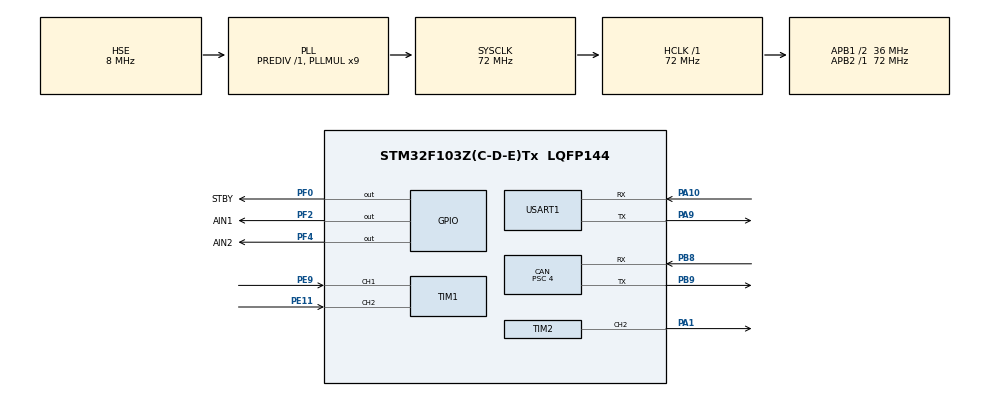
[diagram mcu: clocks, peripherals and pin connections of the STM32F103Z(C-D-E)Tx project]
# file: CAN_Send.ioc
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CAN.ABOM=ENABLE
CAN.AWUM=ENABLE
CAN.BS1=CAN_BS1_15TQ
CAN.BS2=CAN_BS2_2TQ
CAN.CalculateBaudRate=500000
CAN.CalculateTimeBit=2000
CAN.CalculateTimeQuantum=111.11111111111111
CAN.Prescaler=4
Mcu.Family=STM32F1
Mcu.Name=STM32F103Z(C-D-E)Tx
Mcu.Package=LQFP144
NVIC.PriorityGroup=NVIC_PRIORITYGROUP_4
NVIC.USB_LP_CAN1_RX0_IRQn=true\:0\:0\:false\:false\:true\:true\:true\:true
OSC_IN.Mode=HSE-External-Oscillator
OSC_IN.Signal=RCC_OSC_IN
OSC_OUT.Mode=HSE-External-Oscillator
OSC_OUT.Signal=RCC_OSC_OUT
PA1.Signal=S_TIM2_CH2
PA10.Mode=Asynchronous
PA10.Signal=USART1_RX
PA13.Mode=Serial_Wire
PA13.Signal=SYS_JTMS-SWDIO
PA14.Mode=Serial_Wire
PA14.Signal=SYS_JTCK-SWCLK
PA9.Mode=Asynchronous
PA9.Signal=USART1_TX
PB8.Mode=CAN_Activate
PB8.Signal=CAN_RX
PB9.Mode=CAN_Activate
PB9.Signal=CAN_TX
PE11.Signal=S_TIM1_CH2
PE9.Signal=S_TIM1_CH1
PF0.GPIO_Label=STBY
PF0.Signal=GPIO_Output
PF2.GPIO_Label=AIN1
PF2.Signal=GPIO_Output
PF4.GPIO_Label=AIN2
PF4.Signal=GPIO_Output
ProjectManager.HeapSize=0x200
ProjectManager.StackSize=0x400
ProjectManager.TargetToolchain=CMake
RCC.AHBFreq_Value=72000000
RCC.APB1CLKDivider=RCC_HCLK_DIV2
RCC.APB1Freq_Value=36000000
RCC.APB1TimFreq_Value=72000000
RCC.APB2Freq_Value=72000000
RCC.APB2TimFreq_Value=72000000
RCC.HCLKFreq_Value=72000000
RCC.PLLMUL=RCC_PLL_MUL9
RCC.PLLSourceVirtual=RCC_PLLSOURCE_HSE
RCC.SYSCLKFreq_VALUE=72000000
RCC.SYSCLKSource=RCC_SYSCLKSOURCE_PLLCLK
RCC.USBFreq_Value=72000000
SH.S_TIM1_CH1.0=TIM1_CH1,Encoder_Interface
SH.S_TIM1_CH2.0=TIM1_CH2,Encoder_Interface
SH.S_TIM2_CH2.0=TIM2_CH2,PWM Generation2 CH2
TIM1.EncoderMode=TIM_ENCODERMODE_TI12
TIM1.IC1Filter=7
TIM2.AutoReloadPreload=TIM_AUTORELOAD_PRELOAD_ENABLE
TIM2.Channel-PWM\ Generation2\ CH2=TIM_CHANNEL_2
TIM2.Period=999
TIM2.Prescaler=3
USART1.VirtualMode=VM_ASYNC
board=custom

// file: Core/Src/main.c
/* USER CODE BEGIN Header */
/**
  ******************************************************************************
  * @file           : main.c
  * @brief          : Main program body
  ******************************************************************************
  * @attention
  *
  * Copyright (c) 2026 STMicroelectronics.
  * All rights reserved.
  *
  * This software is licensed under terms that can be found in the LICENSE file
  * in the root directory of this software component.
  * If no LICENSE file comes with this software, it is provided AS-IS.
  *
  ******************************************************************************
  */
/* USER CODE END Header */
#include "main.h"
#include "can.h"
#include "tim.h"
#include "usart.h"
#include "gpio.h"

/* USER CODE BEGIN Includes */
#include "Getspeed.h"
#include "stdio.h"
#include "PID.h"
#include "loop.h"
#include "uart_report.h"
#include <stdlib.h>
#include <string.h>
/* USER CODE END Includes */

void SystemClock_Config(void);

int main(void)
{

  /* MCU Configuration--------------------------------------------------------*/

  /* Reset of all peripherals, Initializes the Flash interface and the Systick. */
  HAL_Init();

  /* Configure the system clock */
  SystemClock_Config();

  /* Initialize all configured peripherals */
  MX_GPIO_Init();
  MX_CAN_Init();
  MX_TIM1_Init();
  MX_TIM2_Init();
  MX_USART1_UART_Init();
  /* USER CODE BEGIN 2 */
  //CAN 的初始化
	CAN_ConfigInit();//初始化
	HAL_CAN_Start(&hcan);//使能
  HAL_CAN_ActivateNotification(&hcan, CAN_IT_RX_FIFO0_MSG_PENDING);//开启FIFO0收报中断

  //电机的初始化
	HAL_TIM_Encoder_Start(&htim1, TIM_CHANNEL_ALL);//打开TIM1的全部编码器通道

	PWM_init();//初始化pwm
	Mcinit();//初始化脉冲计数

	PID_init(&PID[0],1.5f,0.2f,0.0f);//初始化PID
	pos_kp(&PID[0],0.5f);//位置环KP：速度目标 = 0.5 × 位置误差(脉冲)，414脉冲→207RPM

  // 串口上报初始化（打开 USART1 中断，供非阻塞发送使用）+ 开机自检
  UART_Report_Init();
  UART_Report_Boot();

  /* USER CODE END 2 */

  /* Infinite loop */
  while (1)
  {

    /* USER CODE BEGIN 3 */

    CAN_Rx_Process();//CAN接收处理函数
    if(ok == 1)
    {
      ok = 0;
      Speed_Pos_loop(g_motor_mode,g_target_pos,g_target_speed);//电机控制主循环

      static uint16_t cnt = 0;
      if (++cnt >= 300)      // 300 × 10ms = 3 秒执行一次
      {
      		cnt = 0;
          UART_Report_MotorState();                    // 串口上报: 模式/转速/位置/PWM
      }
    }

  }
  /* USER CODE END 3 */
}

void SystemClock_Config(void)
{
  RCC_OscInitTypeDef RCC_OscInitStruct = {0};
  RCC_ClkInitTypeDef RCC_ClkInitStruct = {0};

  /** Initializes the RCC Oscillators according to the specified parameters
  * in the RCC_OscInitTypeDef structure.
  */
  RCC_OscInitStruct.OscillatorType = RCC_OSCILLATORTYPE_HSE;
  RCC_OscInitStruct.HSEState = RCC_HSE_ON;
  RCC_OscInitStruct.HSEPredivValue = RCC_HSE_PREDIV_DIV1;
  RCC_OscInitStruct.HSIState = RCC_HSI_ON;
  RCC_OscInitStruct.PLL.PLLState = RCC_PLL_ON;
  RCC_OscInitStruct.PLL.PLLSource = RCC_PLLSOURCE_HSE;
  RCC_OscInitStruct.PLL.PLLMUL = RCC_PLL_MUL9;
  if (HAL_RCC_OscConfig(&RCC_OscInitStruct) != HAL_OK)
  {
    Error_Handler();
  }

  /** Initializes the CPU, AHB and APB buses clocks
  */
  RCC_ClkInitStruct.ClockType = RCC_CLOCKTYPE_HCLK|RCC_CLOCKTYPE_SYSCLK
                              |RCC_CLOCKTYPE_PCLK1|RCC_CLOCKTYPE_PCLK2;
  RCC_ClkInitStruct.SYSCLKSource = RCC_SYSCLKSOURCE_PLLCLK;
  RCC_ClkInitStruct.AHBCLKDivider = RCC_SYSCLK_DIV1;
  RCC_ClkInitStruct.APB1CLKDivider = RCC_HCLK_DIV2;
  RCC_ClkInitStruct.APB2CLKDivider = RCC_HCLK_DIV1;

  if (HAL_RCC_ClockConfig(&RCC_ClkInitStruct, FLASH_LATENCY_2) != HAL_OK)
  {
    Error_Handler();
  }
}

void Error_Handler(void)
{
  __disable_irq();
  while (1)
  {
  }
}
